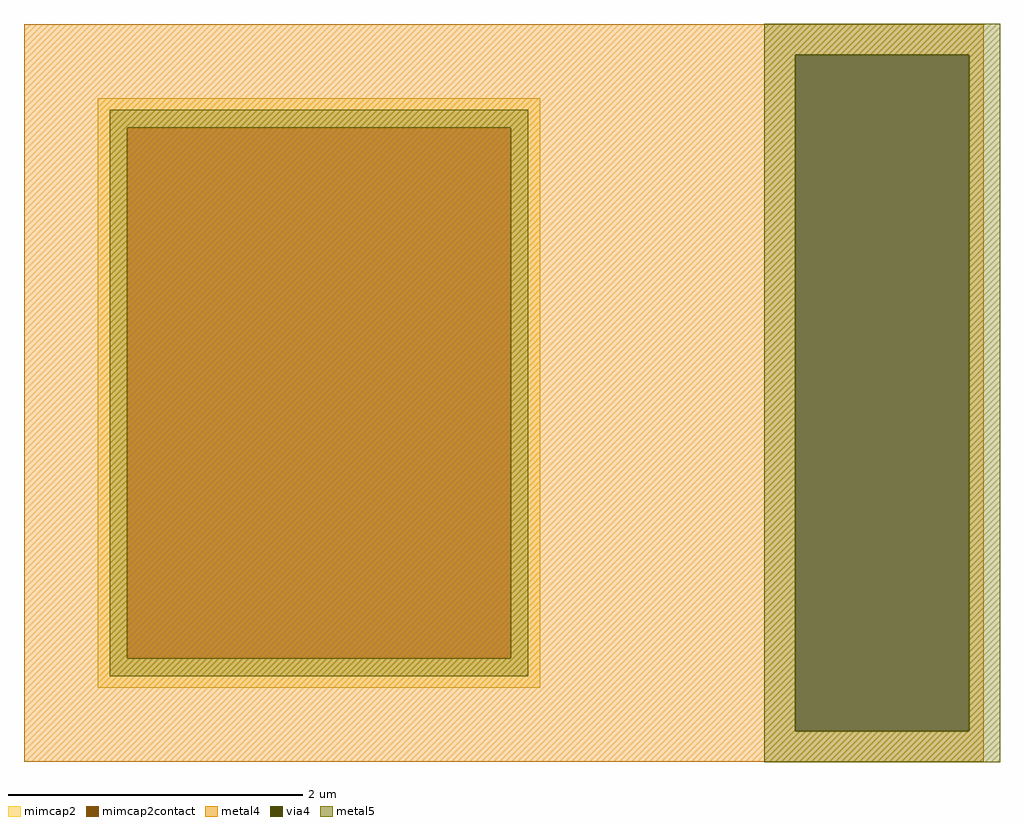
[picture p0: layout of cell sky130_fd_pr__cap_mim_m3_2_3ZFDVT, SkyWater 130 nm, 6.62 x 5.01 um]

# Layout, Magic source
magic
tech sky130A
magscale 1 2
<< metal4 >>
rect -651 459 651 500
rect -651 -459 395 459
rect 631 -459 651 459
rect -651 -500 651 -459
<< via4 >>
rect 395 -459 631 459
<< mimcap2 >>
rect -551 360 49 400
rect -551 -360 -511 360
rect 9 -360 49 360
rect -551 -400 49 -360
<< mimcap2contact >>
rect -511 -360 9 360
<< metal5 >>
rect 353 459 673 501
rect -535 360 33 384
rect -535 -360 -511 360
rect 9 -360 33 360
rect -535 -384 33 -360
rect 353 -459 395 459
rect 631 -459 673 459
rect 353 -501 673 -459
<< properties >>
string FIXED_BBOX -651 -500 149 500
string gencell sky130_fd_pr__cap_mim_m3_2
string library sky130
string parameters w 3.0 l 4.0 val 26.66 carea 2.00 cperi 0.19 nx 1 ny 1 dummy 0 square 0 lmin 2.00 wmin 2.00 lmax 30.0 wmax 30.0 dc 0 bconnect 1 tconnect 1 ccov 100
<< end >>
